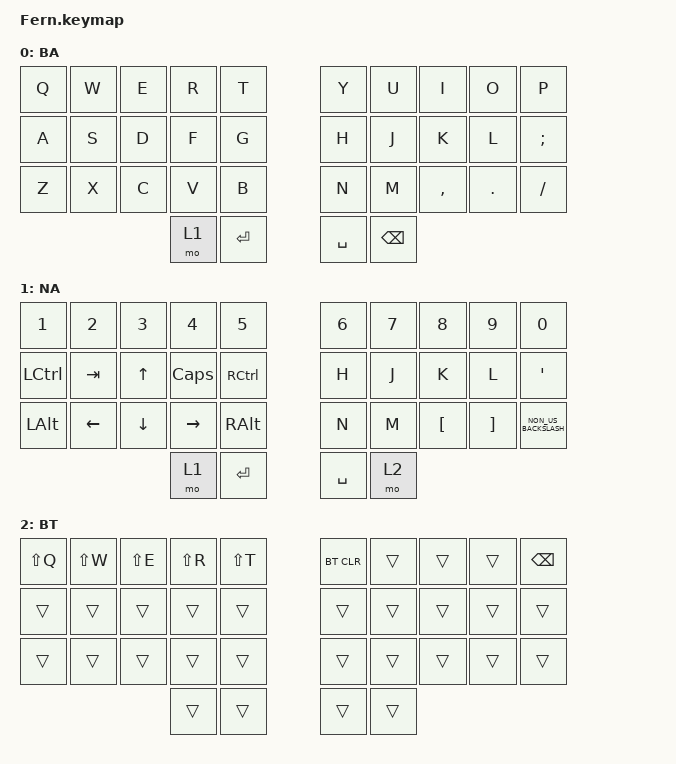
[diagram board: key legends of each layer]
/*
 * Copyright (c) 2022 The ZMK Contributors
 *
 * SPDX-License-Identifier: MIT
 */

#include <behaviors.dtsi>
#include <dt-bindings/zmk/bt.h>
#include <dt-bindings/zmk/keys.h>
#include <dt-bindings/zmk/outputs.h>

#define BA 0
#define NA 1
#define BT 2

/ {
    keymap {
        compatible = "zmk,keymap";

        BA_layer {
            label = "BA";
            bindings = <
&kp Q  &kp W  &kp E  &kp R  &kp T      &kp Y      &kp U          &kp I      &kp O       &kp P
&kp A  &kp S  &kp D  &kp F  &kp G      &kp H      &kp J          &kp K      &kp L       &kp SEMI
&kp Z  &kp X  &kp C  &kp V  &kp B      &kp N      &kp M          &kp COMMA  &kp PERIOD  &kp SLASH
                     &mo 1  &kp ENTER  &kp SPACE  &kp BACKSPACE
            >;
        };

        NA_layer {
            label = "NA";
            bindings = <
&kp N1            &kp N2    &kp N3          &kp N4        &kp N5             &kp N6     &kp N7  &kp N8             &kp N9             &kp N0
&kp LEFT_CONTROL  &kp TAB   &kp UP_ARROW    &kp CAPSLOCK  &kp RIGHT_CONTROL  &kp H      &kp J   &kp K              &kp L              &kp SQT
&kp LEFT_ALT      &kp LEFT  &kp DOWN_ARROW  &kp RIGHT     &kp RIGHT_ALT      &kp N      &kp M   &kp LEFT_BRACKET   &kp RIGHT_BRACKET  &kp NON_US_BACKSLASH
                                            &mo 1         &kp ENTER          &kp SPACE  &mo 2
            >;
        };

        BT_layer {
            label = "BT";
            bindings = <
&kp LS(Q)  &kp LS(W)  &kp LS(E)  &kp LS(R)  &kp LS(T)  &bt BT_CLR  &trans  &trans  &trans  &kp BACKSPACE
&trans     &trans     &trans     &trans     &trans     &trans      &trans  &trans  &trans  &trans
&trans     &trans     &trans     &trans     &trans     &trans      &trans  &trans  &trans  &trans
                                 &trans     &trans     &trans      &trans
            >;
        };
    };
};


